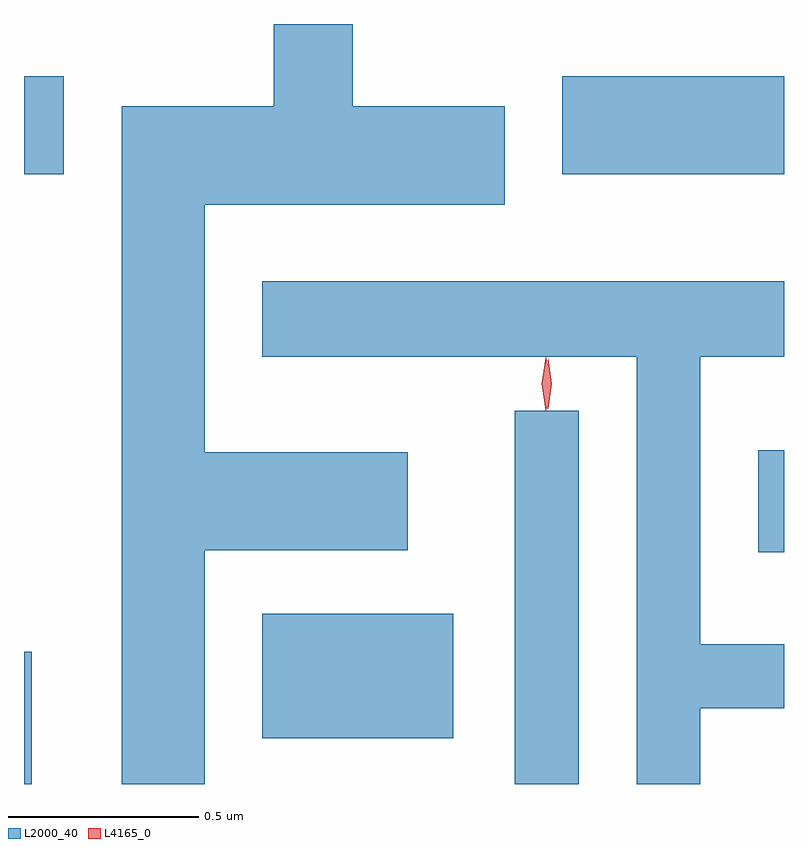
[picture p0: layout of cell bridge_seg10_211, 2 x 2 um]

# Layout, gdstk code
import gdstk
lib = gdstk.Library(unit=1e-6, precision=1e-09)
def R(c, l, rs):  # rectangles x0, y0, x1, y1
    for r in rs: c.add(gdstk.rectangle(r[:2], r[2:], *l))
def P(c, l, *ps):  # polygons
    for p in ps: c.add(gdstk.Polygon(p, *l))
L2000_40 = (2000, 40)
L4165_0 = (4165, 0)

bridge_seg10_211 = lib.new_cell('bridge_seg10_211')
R(bridge_seg10_211, L2000_40, [(1901.579,2141.191,1901.599,2141.539), (1902.871,2141.191,1903.039,2142.173), (1902.206,2141.311,1902.709,2141.639), (1903.511,2141.801,1903.579,2142.069), (1901.579,2142.796,1901.684,2143.054), (1902.996,2142.796,1903.579,2143.054)])
P(bridge_seg10_211, L2000_40, [(1902.054,2141.806),(1902.589,2141.806),(1902.589,2142.064),(1902.054,2142.064),(1902.054,2142.716),(1902.844,2142.716),(1902.844,2142.974),(1902.444,2142.974),(1902.444,2143.191),(1902.236,2143.191),(1902.236,2142.974),(1901.836,2142.974),(1901.836,2141.191),(1902.054,2141.191)],
  [(1903.359,2141.391),(1903.579,2141.391),(1903.579,2141.559),(1903.359,2141.559),(1903.359,2142.316),(1903.579,2142.316),(1903.579,2142.514),(1902.206,2142.514),(1902.206,2142.316),(1903.191,2142.316),(1903.191,2141.191),(1903.359,2141.191)])
P(bridge_seg10_211, L4165_0, [(1902.957,2142.178),(1902.948,2142.244),(1902.958,2142.31),(1902.958,2142.311),(1902.959,2142.31),(1902.968,2142.244),(1902.958,2142.178),(1902.958,2142.178)],
  [(1902.952,2142.174),(1902.952,2142.175),(1902.942,2142.244),(1902.952,2142.313),(1902.952,2142.314),(1902.953,2142.313),(1902.962,2142.244),(1902.953,2142.175)])

lib.write_gds('bridge_seg10_211.gds')
